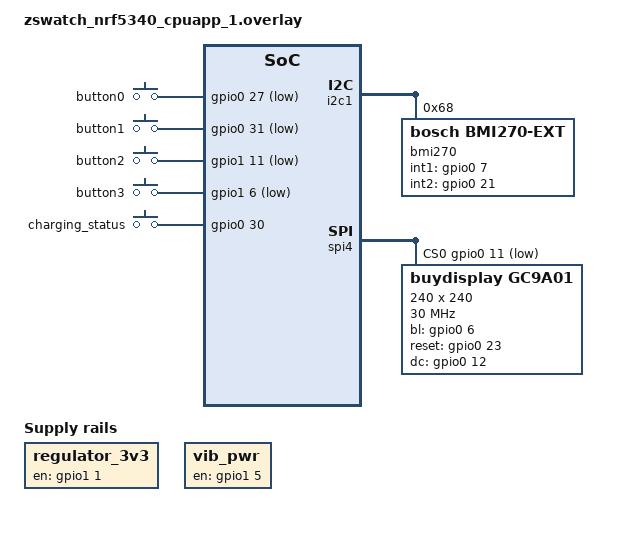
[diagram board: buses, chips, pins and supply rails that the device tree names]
/ {
	buttons: buttons {
        compatible = "gpio-keys";
        button0: button_0 {
            gpios = <&gpio0 27 (GPIO_PULL_UP | GPIO_ACTIVE_LOW)>;
            zephyr,code = <INPUT_KEY_ENTER>;
        };
        button1: button_1 {
            gpios = <&gpio0 31 (GPIO_PULL_UP | GPIO_ACTIVE_LOW)>;
            zephyr,code = <INPUT_KEY_ENTER>;
        };
        button2: button_2 {
            gpios = <&gpio1 11 (GPIO_PULL_UP | GPIO_ACTIVE_LOW)>;
            zephyr,code = <INPUT_KEY_ENTER>;
        };
        button3: button_3 {
            gpios = <&gpio1 6 (GPIO_PULL_UP | GPIO_ACTIVE_LOW)>;
            zephyr,code = <INPUT_KEY_ENTER>;
        };
    };

	charger {
        compatible = "gpio-keys";
        charging_status: charging_status {
            gpios = <&gpio0 30 (GPIO_PULL_UP | GPIO_ACTIVE_HIGH)>;
            zephyr,code = <INPUT_KEY_ENTER>;
        };
    };

	regulator_3v3: regulator-3v3-ctrl {
        compatible = "regulator-fixed";
        regulator-name = "display";
        enable-gpios = <&gpio1 1 GPIO_ACTIVE_HIGH>;
        regulator-boot-on;
        startup-delay-us = < 50000 >;
    };

	vib_pwr: vib-pwr-ctrl {
        compatible = "regulator-fixed";
        regulator-name = "vib-pwr-ctrl";
        enable-gpios = <&gpio1 5 GPIO_ACTIVE_HIGH>;
    };

};

&i2c1 {
    bmi270: bmi270@68 {
        compatible = "bosch,bmi270-ext";
        reg = <0x68>;
        int1-gpios = <&gpio0 7 GPIO_ACTIVE_HIGH>;
        int2-gpios = <&gpio0 21 GPIO_ACTIVE_HIGH>;
    };
};

&spi4  {
    status = "okay";
    compatible = "nordic,nrf-spim";
    pinctrl-0 = <&spi4_default>;
    pinctrl-1 = <&spi4_sleep>;
    pinctrl-names = "default", "sleep";
    cs-gpios = <&gpio0 11 GPIO_ACTIVE_LOW>;

    gc9a01: gc9a01@0 {
        compatible = "buydisplay,gc9a01";
        status = "okay";
        spi-max-frequency = <30000000>;
        reg = <0>;
        width = <240>;
        height = <240>;
        bl-gpios = <&gpio0 6 GPIO_ACTIVE_HIGH>;
        reset-gpios = <&gpio0 23 GPIO_ACTIVE_HIGH>;
        dc-gpios = <&gpio0 12 GPIO_ACTIVE_HIGH>;
    };

};
